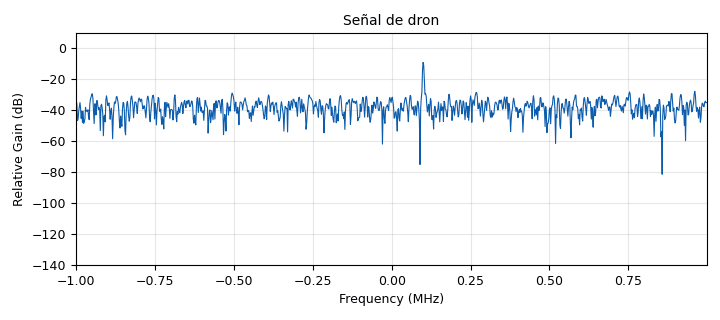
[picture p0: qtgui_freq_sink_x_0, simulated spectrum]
options:
  parameters:
    generate_options: qt_gui
    id: practica1
    output_language: python
    title: Not titled yet
  states: {}

blocks:
- name: samp_rate
  id: variable
  parameters:
    value: '2000000'
  states: {}
- name: analog_noise_source_x_0
  id: analog_noise_source_x
  parameters:
    amp: '1'
    noise_type: analog.GR_GAUSSIAN
    seed: '0'
    type: complex
  states: {}
- name: analog_sig_source_x_0
  id: analog_sig_source_x
  parameters:
    amp: '1'
    freq: '100000'
    offset: '0'
    phase: '0'
    samp_rate: samp_rate
    type: complex
    waveform: analog.GR_COS_WAVE
  states: {}
- name: blocks_add_xx_0
  id: blocks_add_xx
  parameters:
    type: complex
  states: {}
- name: blocks_throttle_0
  id: blocks_throttle
  parameters:
    samples_per_second: samp_rate
    type: complex
  states: {}
- name: qtgui_freq_sink_x_0
  id: qtgui_freq_sink_x
  parameters:
    bw: samp_rate
    color1: '"green"'
    fc: '0'
    fftsize: '1024'
    name: '"Señal de dron"'
    type: complex
  states: {}

connections:
- [analog_noise_source_x_0, '0', blocks_add_xx_0, '0']
- [analog_sig_source_x_0, '0', blocks_add_xx_0, '1']
- [blocks_add_xx_0, '0', blocks_throttle_0, '0']
- [blocks_throttle_0, '0', qtgui_freq_sink_x_0, '0']

metadata:
  file_format: 1
